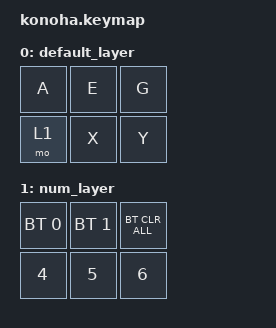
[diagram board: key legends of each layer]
#include <behaviors.dtsi>
#include <dt-bindings/zmk/bt.h>

/ {
    keymap {
        compatible = "zmk,keymap";

	default_layer {
            bindings = <
                &kp A &kp E &kp G
                &mo 1 &kp X &kp Y
	    >;
	};

	num_layer {
            bindings = <
                &bt BT_SEL 0 &bt BT_SEL 1 &bt BT_CLR_ALL
                &kp N4 &kp N5 &kp N6
	    >;
	};
    };
};
